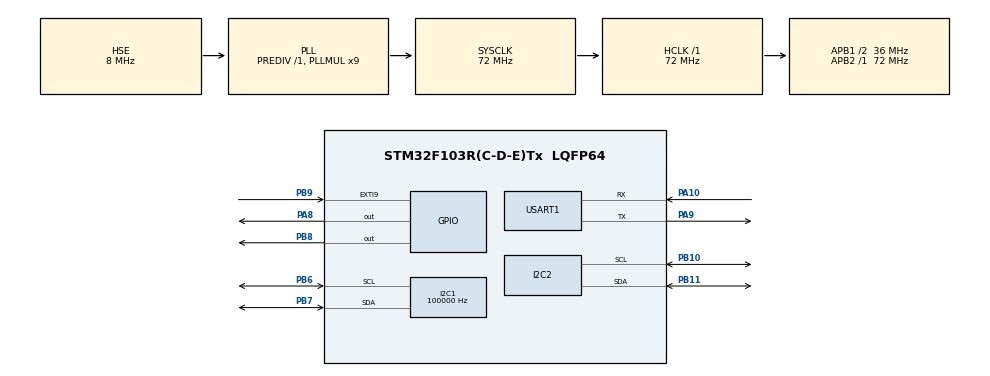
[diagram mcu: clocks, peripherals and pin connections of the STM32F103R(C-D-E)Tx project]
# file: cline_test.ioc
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FREERTOS.Tasks01=defaultTask,24,128,StartDefaultTask,Default,NULL,Dynamic,NULL,NULL;myTask02,24,512,StartTask02,Default,NULL,Dynamic,NULL,NULL
I2C1.ClockSpeed=100000
I2C1.DualAddressMode=I2C_DUALADDRESS_DISABLE
I2C1.I2C_Mode=I2C_Standard
I2C1.OwnAddress=0
Mcu.Family=STM32F1
Mcu.Name=STM32F103R(C-D-E)Tx
Mcu.Package=LQFP64
NVIC.EXTI9_5_IRQn=true\:5\:0\:false\:false\:true\:false\:true\:true\:true
NVIC.I2C1_ER_IRQn=true\:5\:0\:false\:false\:true\:true\:true\:true\:true
NVIC.I2C1_EV_IRQn=true\:5\:0\:false\:false\:true\:true\:true\:true\:true
NVIC.I2C2_ER_IRQn=true\:5\:0\:false\:false\:true\:true\:true\:true\:true
NVIC.I2C2_EV_IRQn=true\:5\:0\:false\:false\:true\:true\:true\:true\:true
NVIC.PriorityGroup=NVIC_PRIORITYGROUP_4
NVIC.USART1_IRQn=true\:5\:0\:false\:false\:true\:true\:true\:true\:true
PA10.GPIO_PuPd=GPIO_PULLUP
PA10.Mode=Asynchronous
PA10.Signal=USART1_RX
PA13.Mode=Serial_Wire
PA13.Signal=SYS_JTMS-SWDIO
PA14.Mode=Serial_Wire
PA14.Signal=SYS_JTCK-SWCLK
PA8.GPIO_PuPd=GPIO_PULLUP
PA8.GPIO_Speed=GPIO_SPEED_FREQ_HIGH
PA8.PinState=GPIO_PIN_SET
PA8.Signal=GPIO_Output
PA9.Mode=Asynchronous
PA9.Signal=USART1_TX
PB10.Mode=I2C
PB10.Signal=I2C2_SCL
PB11.Mode=I2C
PB11.Signal=I2C2_SDA
PB6.Mode=I2C
PB6.Signal=I2C1_SCL
PB7.Mode=I2C
PB7.Signal=I2C1_SDA
PB8.GPIO_PuPd=GPIO_PULLDOWN
PB8.Signal=GPIO_Output
PB9.GPIO_ModeDefaultEXTI=GPIO_MODE_IT_RISING
PB9.GPIO_PuPd=GPIO_PULLDOWN
PB9.Signal=GPXTI9
PC14-OSC32_IN.Mode=LSE-External-Oscillator
PC14-OSC32_IN.Signal=RCC_OSC32_IN
PC15-OSC32_OUT.Mode=LSE-External-Oscillator
PC15-OSC32_OUT.Signal=RCC_OSC32_OUT
PD0-OSC_IN.Mode=HSE-External-Oscillator
PD0-OSC_IN.Signal=RCC_OSC_IN
PD1-OSC_OUT.Mode=HSE-External-Oscillator
PD1-OSC_OUT.Signal=RCC_OSC_OUT
ProjectManager.HeapSize=0x200
ProjectManager.StackSize=0x400
ProjectManager.TargetToolchain=MDK-ARM V5.32
RCC.AHBFreq_Value=72000000
RCC.APB1CLKDivider=RCC_HCLK_DIV2
RCC.APB1Freq_Value=36000000
RCC.APB1TimFreq_Value=72000000
RCC.APB2Freq_Value=72000000
RCC.APB2TimFreq_Value=72000000
RCC.HCLKFreq_Value=72000000
RCC.PLLMUL=RCC_PLL_MUL9
RCC.PLLSourceVirtual=RCC_PLLSOURCE_HSE
RCC.SYSCLKFreq_VALUE=72000000
RCC.SYSCLKSource=RCC_SYSCLKSOURCE_PLLCLK
RCC.USBFreq_Value=72000000
USART1.VirtualMode=VM_ASYNC
VP_FREERTOS_VS_CMSIS_V2.Mode=CMSIS_V2
board=custom

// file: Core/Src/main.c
/* USER CODE BEGIN Header */
/**
  ******************************************************************************
  * @file           : main.c
  * @brief          : Main program body
  ******************************************************************************
  * @attention
  *
  * Copyright (c) 2024 STMicroelectronics.
  * All rights reserved.
  *
  * This software is licensed under terms that can be found in the LICENSE file
  * in the root directory of this software component.
  * If no LICENSE file comes with this software, it is provided AS-IS.
  *
  ******************************************************************************
  */
/* USER CODE END Header */
#include "main.h"
#include "cmsis_os.h"

/* USER CODE BEGIN Includes */
#include "string.h"
#include "driver_mpu6050_basic.h"
#include "kalman.h"
#include "driver_ssd1306_basic.h"
#include "driver_mpu6050_interface.h"
#include "driver_mpu6050_register_test.h"
#include "driver_mpu6050_fifo_test.h"
#include "driver_mpu6050_dmp_read_test.h"
/* USER CODE END Includes */

I2C_HandleTypeDef hi2c1;
I2C_HandleTypeDef hi2c2;

UART_HandleTypeDef huart1;

/* Definitions for defaultTask */
osThreadId_t defaultTaskHandle;
const osThreadAttr_t defaultTask_attributes = {
  .name = "defaultTask",
  .stack_size = 128 * 4,
  .priority = (osPriority_t) osPriorityNormal,
};
/* Definitions for myTask02 */
osThreadId_t myTask02Handle;
const osThreadAttr_t myTask02_attributes = {
  .name = "myTask02",
  .stack_size = 512 * 4,
  .priority = (osPriority_t) osPriorityNormal,
};

void SystemClock_Config(void);
static void MX_GPIO_Init(void);
static void MX_USART1_UART_Init(void);
static void MX_I2C1_Init(void);
static void MX_I2C2_Init(void);
void StartDefaultTask(void *argument);
void StartTask02(void *argument);

/* USER CODE BEGIN 0 */
char str[] = "statue normal\r\n";
static int count;
//float acc[3] = {0};
//float gyr[3] = {0};
/* USER CODE END 0 */

int main(void)
{

  /* MCU Configuration--------------------------------------------------------*/

  /* Reset of all peripherals, Initializes the Flash interface and the Systick. */
  HAL_Init();

  /* Configure the system clock */
  SystemClock_Config();

  /* Initialize all configured peripherals */
  MX_GPIO_Init();
  MX_USART1_UART_Init();
  MX_I2C1_Init();
  MX_I2C2_Init();
  /* USER CODE BEGIN 2 */
  mpu6050_basic_init(MPU6050_ADDRESS_AD0_LOW);
//  mpu6050_register_test(MPU6050_ADDRESS_AD0_LOW);
//  mpu6050_fifo_test(MPU6050_ADDRESS_AD0_LOW, 100);
//  mpu6050_dmp_read_test(MPU6050_ADDRESS_AD0_LOW, 100);
//  ssd1306_basic_init(SSD1306_INTERFACE_IIC, SSD1306_ADDR_SA0_0);
  /* USER CODE END 2 */

  /* Init scheduler */
  osKernelInitialize();

  /* Create the thread(s) */
  /* creation of defaultTask */
  defaultTaskHandle = osThreadNew(StartDefaultTask, NULL, &defaultTask_attributes);

  /* creation of myTask02 */
  myTask02Handle = osThreadNew(StartTask02, NULL, &myTask02_attributes);

  /* Start scheduler */
  osKernelStart();

  /* We should never get here as control is now taken by the scheduler */
  /* Infinite loop */
  while (1)
  {

  }
}

void SystemClock_Config(void)
{
  RCC_OscInitTypeDef RCC_OscInitStruct = {0};
  RCC_ClkInitTypeDef RCC_ClkInitStruct = {0};

  /** Initializes the RCC Oscillators according to the specified parameters
  * in the RCC_OscInitTypeDef structure.
  */
  RCC_OscInitStruct.OscillatorType = RCC_OSCILLATORTYPE_HSE;
  RCC_OscInitStruct.HSEState = RCC_HSE_ON;
  RCC_OscInitStruct.HSEPredivValue = RCC_HSE_PREDIV_DIV1;
  RCC_OscInitStruct.HSIState = RCC_HSI_ON;
  RCC_OscInitStruct.PLL.PLLState = RCC_PLL_ON;
  RCC_OscInitStruct.PLL.PLLSource = RCC_PLLSOURCE_HSE;
  RCC_OscInitStruct.PLL.PLLMUL = RCC_PLL_MUL9;
  if (HAL_RCC_OscConfig(&RCC_OscInitStruct) != HAL_OK)
  {
    Error_Handler();
  }

  /** Initializes the CPU, AHB and APB buses clocks
  */
  RCC_ClkInitStruct.ClockType = RCC_CLOCKTYPE_HCLK|RCC_CLOCKTYPE_SYSCLK
                              |RCC_CLOCKTYPE_PCLK1|RCC_CLOCKTYPE_PCLK2;
  RCC_ClkInitStruct.SYSCLKSource = RCC_SYSCLKSOURCE_PLLCLK;
  RCC_ClkInitStruct.AHBCLKDivider = RCC_SYSCLK_DIV1;
  RCC_ClkInitStruct.APB1CLKDivider = RCC_HCLK_DIV2;
  RCC_ClkInitStruct.APB2CLKDivider = RCC_HCLK_DIV1;

  if (HAL_RCC_ClockConfig(&RCC_ClkInitStruct, FLASH_LATENCY_2) != HAL_OK)
  {
    Error_Handler();
  }
}

static void MX_I2C1_Init(void)
{

  hi2c1.Instance = I2C1;
  hi2c1.Init.ClockSpeed = 100000;
  hi2c1.Init.DutyCycle = I2C_DUTYCYCLE_2;
  hi2c1.Init.OwnAddress1 = 0;
  hi2c1.Init.AddressingMode = I2C_ADDRESSINGMODE_7BIT;
  hi2c1.Init.DualAddressMode = I2C_DUALADDRESS_DISABLE;
  hi2c1.Init.OwnAddress2 = 0;
  hi2c1.Init.GeneralCallMode = I2C_GENERALCALL_DISABLE;
  hi2c1.Init.NoStretchMode = I2C_NOSTRETCH_DISABLE;
  if (HAL_I2C_Init(&hi2c1) != HAL_OK)
  {
    Error_Handler();
  }

}

static void MX_I2C2_Init(void)
{

  hi2c2.Instance = I2C2;
  hi2c2.Init.ClockSpeed = 100000;
  hi2c2.Init.DutyCycle = I2C_DUTYCYCLE_2;
  hi2c2.Init.OwnAddress1 = 0;
  hi2c2.Init.AddressingMode = I2C_ADDRESSINGMODE_7BIT;
  hi2c2.Init.DualAddressMode = I2C_DUALADDRESS_DISABLE;
  hi2c2.Init.OwnAddress2 = 0;
  hi2c2.Init.GeneralCallMode = I2C_GENERALCALL_DISABLE;
  hi2c2.Init.NoStretchMode = I2C_NOSTRETCH_DISABLE;
  if (HAL_I2C_Init(&hi2c2) != HAL_OK)
  {
    Error_Handler();
  }

}

static void MX_USART1_UART_Init(void)
{

  huart1.Instance = USART1;
  huart1.Init.BaudRate = 115200;
  huart1.Init.WordLength = UART_WORDLENGTH_8B;
  huart1.Init.StopBits = UART_STOPBITS_1;
  huart1.Init.Parity = UART_PARITY_NONE;
  huart1.Init.Mode = UART_MODE_TX_RX;
  huart1.Init.HwFlowCtl = UART_HWCONTROL_NONE;
  huart1.Init.OverSampling = UART_OVERSAMPLING_16;
  if (HAL_UART_Init(&huart1) != HAL_OK)
  {
    Error_Handler();
  }

}

static void MX_GPIO_Init(void)
{
  GPIO_InitTypeDef GPIO_InitStruct = {0};

  /* GPIO Ports Clock Enable */
  __HAL_RCC_GPIOC_CLK_ENABLE();
  __HAL_RCC_GPIOD_CLK_ENABLE();
  __HAL_RCC_GPIOB_CLK_ENABLE();
  __HAL_RCC_GPIOA_CLK_ENABLE();

  /*Configure GPIO pin Output Level */
  HAL_GPIO_WritePin(GPIOA, GPIO_PIN_8, GPIO_PIN_SET);

  /*Configure GPIO pin Output Level */
  HAL_GPIO_WritePin(GPIOB, GPIO_PIN_8, GPIO_PIN_RESET);

  /*Configure GPIO pin : PA8 */
  GPIO_InitStruct.Pin = GPIO_PIN_8;
  GPIO_InitStruct.Mode = GPIO_MODE_OUTPUT_PP;
  GPIO_InitStruct.Pull = GPIO_PULLUP;
  GPIO_InitStruct.Speed = GPIO_SPEED_FREQ_HIGH;
  HAL_GPIO_Init(GPIOA, &GPIO_InitStruct);

  /*Configure GPIO pin : PB8 */
  GPIO_InitStruct.Pin = GPIO_PIN_8;
  GPIO_InitStruct.Mode = GPIO_MODE_OUTPUT_PP;
  GPIO_InitStruct.Pull = GPIO_PULLDOWN;
  GPIO_InitStruct.Speed = GPIO_SPEED_FREQ_LOW;
  HAL_GPIO_Init(GPIOB, &GPIO_InitStruct);

  /*Configure GPIO pin : PB9 */
  GPIO_InitStruct.Pin = GPIO_PIN_9;
  GPIO_InitStruct.Mode = GPIO_MODE_IT_RISING;
  GPIO_InitStruct.Pull = GPIO_PULLDOWN;
  HAL_GPIO_Init(GPIOB, &GPIO_InitStruct);

  /* EXTI interrupt init*/
  HAL_NVIC_SetPriority(EXTI9_5_IRQn, 5, 0);
  HAL_NVIC_EnableIRQ(EXTI9_5_IRQn);

}

/* USER CODE BEGIN 4 */
#ifdef __GNUC__
#define PUTCHAR_PROTOTYPE int __io_putchar(int ch)
#else
#define PUTCHAR_PROTOTYPE int fputc(int ch. FILE *f)
#endif /* __GNUC__ */

//重定向printf函数
PUTCHAR_PROTOTYPE
{
    HAL_UART_Transmit(&huart1,(uint8_t *)&ch,1,0xFFFF);//输出指向串口USART1
    return ch;
}
/* USER CODE END 4 */

void StartDefaultTask(void *argument)
{
  /* USER CODE BEGIN 5 */
  /* Infinite loop */
  for(;;)
  {
    osDelay(300);
    HAL_GPIO_TogglePin(GPIOA, GPIO_PIN_8);
  }
  /* USER CODE END 5 */
}

void StartTask02(void *argument)
{
  /* USER CODE BEGIN StartTask02 */
  /* Infinite loop */
  for(;;)
  {
      osDelay(20);
//      mpu6050_basic_read(acc,gyr);
      Angle_Calcu();
      mpu6050_interface_debug_print("d:%.3f,%.3f,%.3f,%.3f\n", Angle_X_Final, Angle_Y_Final, Angle_x_temp, Angle_y_temp);
  }
  /* USER CODE END StartTask02 */
}

void Error_Handler(void)
{
  __disable_irq();
  while (1)
  {
  }
}
